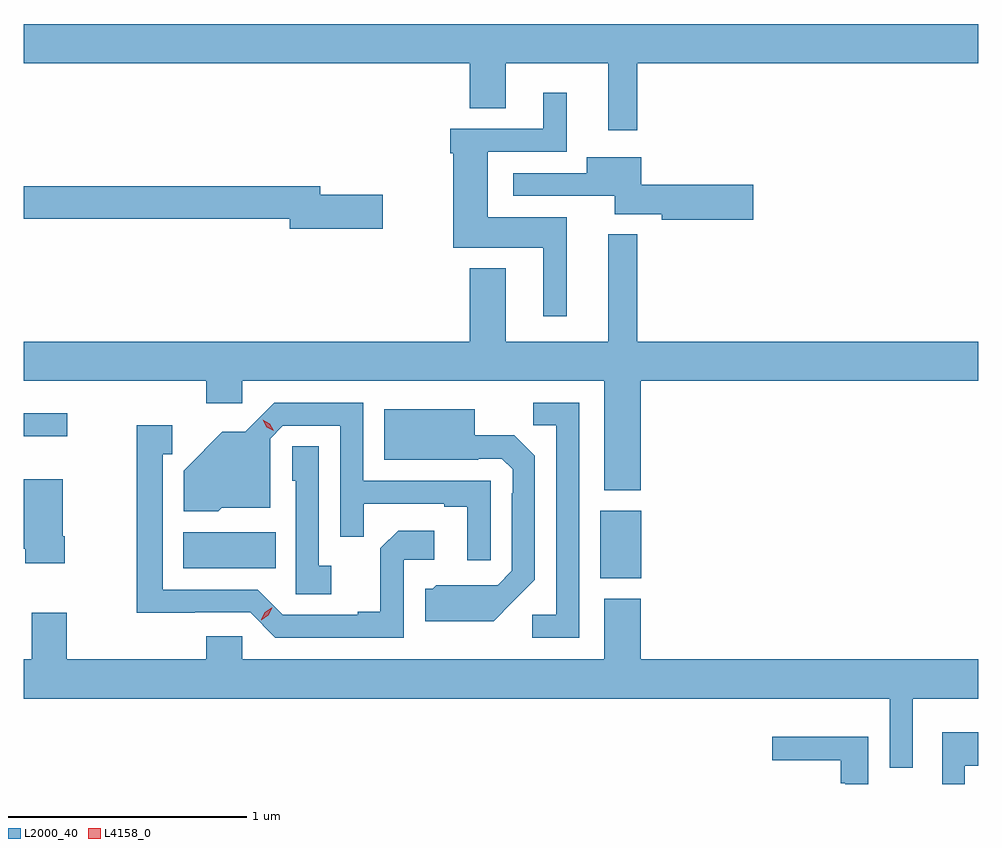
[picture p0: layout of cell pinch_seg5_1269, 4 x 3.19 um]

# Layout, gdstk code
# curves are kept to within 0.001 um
import gdstk
lib = gdstk.Library(unit=1e-6, precision=1e-09)
def R(c, l, rs):  # rectangles x0, y0, x1, y1
    for r in rs: c.add(gdstk.rectangle(r[:2], r[2:], *l))
def P(c, l, *ps):  # polygons
    for p in ps: c.add(gdstk.Polygon(p, *l))
L2000_40 = (2000, 40)
L4158_0 = (4158, 0)

pinch_seg5_1269 = lib.new_cell('pinch_seg5_1269')
R(pinch_seg5_1269, L2000_40, [(378.212,854.6,378.382,854.884), (376.463,854.642,376.85,854.794), (375.795,855.195,375.976,855.292)])
P(pinch_seg5_1269, L2000_40, [(378.367,856.76),(379.795,856.76),(379.795,856.924),(375.795,856.924),(375.795,856.76),(377.663,856.76),(377.663,856.57),(377.815,856.57),(377.815,856.76),(378.245,856.76),(378.245,856.479),(378.367,856.479)],
  [(378.07,856.114),(377.74,856.114),(377.74,856.389),(378.07,856.389),(378.07,856.636),(377.972,856.636),(377.972,856.485),(377.582,856.485),(377.582,856.382),(377.594,856.382),(377.594,855.986),(377.972,855.986),(377.972,855.699),(378.07,855.699)],
  [(378.853,856.25),(378.382,856.25),(378.382,856.366),(378.155,856.366),(378.155,856.299),(377.847,856.299),(377.847,856.203),(378.272,856.203),(378.272,856.127),(378.468,856.127),(378.468,856.103),(378.853,856.103)],
  [(377.299,856.208),(377.038,856.208),(377.038,856.244),(375.795,856.244),(375.795,856.108),(376.91,856.108),(376.91,856.066),(377.299,856.066)],
  [(378.38,855.428),(379.795,855.428),(379.795,855.592),(378.367,855.592),(378.367,856.042),(378.245,856.042),(378.245,855.592),(377.815,855.592),(377.815,855.901),(377.663,855.901),(377.663,855.592),(375.795,855.592),(375.795,855.428),(376.559,855.428),(376.559,855.335),(376.71,855.335),(376.71,855.428),(378.227,855.428),(378.227,854.969),(378.38,854.969)],
  [(378.123,855.336),(377.931,855.336),(377.931,855.241),(378.027,855.241),(378.027,854.448),(377.925,854.448),(377.925,854.352),(378.123,854.352)],
  [(377.751,855.009),(377.217,855.009),(377.217,855.336),(376.844,855.336),(376.722,855.214),(376.626,855.214),(376.552,855.14),(376.554,855.139),(376.466,855.051),(376.466,854.882),(376.61,854.882),(376.625,854.897),(376.827,854.897),(376.827,855.186),(376.881,855.24),(377.121,855.24),(377.121,854.774),(377.219,854.774),(377.219,854.913),(377.558,854.913),(377.558,854.901),(377.654,854.901),(377.654,854.676),(377.751,854.676)],
  [(377.845,854.501),(377.937,854.594),(377.937,855.114),(377.851,855.2),(377.686,855.2),(377.686,855.31),(377.306,855.31),(377.306,855.098),(377.699,855.098),(377.699,855.102),(377.799,855.102),(377.844,855.057),(377.844,854.957),(377.841,854.957),(377.841,854.631),(377.781,854.571),(377.524,854.572),(377.508,854.556),(377.477,854.556),(377.477,854.42),(377.765,854.42)],
  [(377.388,854.679),(377.515,854.679),(377.515,854.8),(377.364,854.8),(377.289,854.726),(377.289,854.461),(377.195,854.461),(377.195,854.448),(376.88,854.448),(376.775,854.553),(376.378,854.553),(376.378,855.12),(376.416,855.12),(376.416,855.241),(376.267,855.241),(376.267,854.456),(376.743,854.457),(376.848,854.352),(377.388,854.352)],
  [(377.083,854.652),(377.031,854.652),(377.031,855.154),(376.92,855.154),(376.92,855.009),(376.935,855.009),(376.935,854.533),(377.083,854.533)],
  [(375.966,854.776),(375.958,854.776),(375.958,855.016),(375.795,855.016),(375.795,854.724),(375.8,854.724),(375.8,854.664),(375.966,854.664)],
  [(379.521,854.096),(379.795,854.096),(379.795,854.26),(378.38,854.26),(378.38,854.515),(378.227,854.515),(378.227,854.26),(376.71,854.26),(376.71,854.358),(376.559,854.358),(376.559,854.26),(375.975,854.26),(375.975,854.455),(375.827,854.455),(375.827,854.26),(375.795,854.26),(375.795,854.096),(379.425,854.096),(379.425,853.806),(379.521,853.806)],
  [(379.74,853.814),(379.795,853.814),(379.795,853.954),(379.644,853.954),(379.644,853.738),(379.74,853.738)],
  [(379.335,853.936),(378.933,853.936),(378.933,853.838),(379.219,853.838),(379.219,853.742),(379.239,853.742),(379.239,853.738),(379.335,853.738)])
P(pinch_seg5_1269, L4158_0, [(376.842,855.218),(376.812,855.234),(376.796,855.264),(376.796,855.265),(376.797,855.265),(376.826,855.248),(376.842,855.218),(376.842,855.218)],
  [(376.789,854.425),(376.789,854.426),(376.805,854.458),(376.835,854.477),(376.836,854.477),(376.836,854.477),(376.82,854.445),(376.79,854.425)])

lib.write_gds('pinch_seg5_1269.gds')
